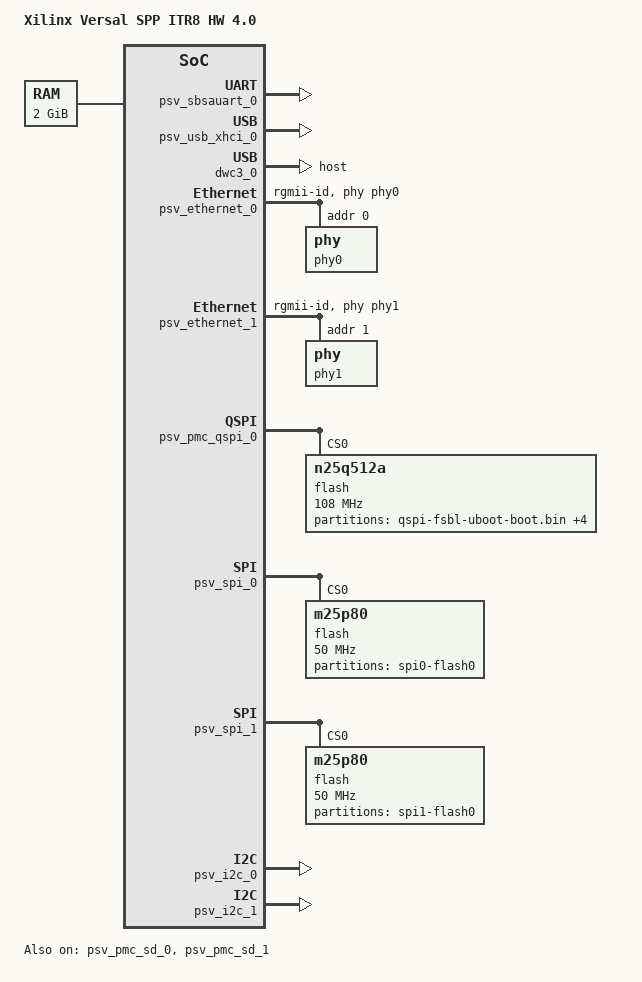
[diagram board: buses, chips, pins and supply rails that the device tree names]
// SPDX-License-Identifier: GPL-2.0
/*
 * dts file for Xilinx Versal
 *
 * (C) Copyright 2017 - 2019, Xilinx, Inc.
 *
 * Michal Simek <michal.simek@xilinx.com>
 */

/ {
	compatible = "xlnx,versal-spp-itr8-cn13940875", "xlnx,versal-spp-itr8", "xlnx,versal";
	model = "Xilinx Versal SPP ITR8 HW 4.0";
	
	aliases {
		serial0 = &psv_sbsauart_0;
		ethernet0 = &psv_ethernet_0;
		ethernet1 = &psv_ethernet_1;
		spi0 = &psv_pmc_qspi_0;
		spi1 = &psv_pmc_ospi_0;
		spi2 = &psv_spi_0;
		spi3 = &psv_spi_1;
		i2c0 = &psv_i2c_0;
		i2c1 = &psv_i2c_1;
		mmc0 = &psv_pmc_sd_0;
		mmc1 = &psv_pmc_sd_1;
		usb0 = &psv_usb_xhci_0;
	};
	
	memory@0 {
		device_type = "memory";
		reg = <0 0 0 0x80000000>;
	};
	chosen {
		bootargs = "rdinit=/bin/sh console=ttyAMA0 earlycon=pl011,mmio32,0xFF000000,115200n8 clk_ignore_unused maxcpus=1";
		stdout-path = "serial0:115200";
	};
	
	clk25: clk25 {
		u-boot,dm-pre-reloc;
		compatible = "fixed-clock";
		#clock-cells = <0>;
		clock-frequency = <25000000>;
	};

	clk100: clk100 {
		compatible = "fixed-clock";
		#clock-cells = <0>;
		clock-frequency = <100000000>;
	};

	clk125: clk125 {
		compatible = "fixed-clock";
		#clock-cells = <0>;
		clock-frequency = <125000000>;
	};

	clk200: clk200 {
		compatible = "fixed-clock";
		#clock-cells = <0>;
		clock-frequency = <200000000>;
	};
};

&timer {
	clock-frequency = <2720000>;
};

&psv_sbsauart_0 {
	status = "okay";
	clocks = <&clk25 &clk25>;
};

&psv_adma_0 {
	status = "okay";
	clocks = <&clk100 &clk100>;
};

&psv_adma_1 {
	status = "okay";
	clocks = <&clk100 &clk100>;
};

&psv_adma_2 {
	status = "okay";
	clocks = <&clk100 &clk100>;
};

&psv_adma_3 {
	status = "okay";
	clocks = <&clk100 &clk100>;
};

&psv_adma_4 {
	status = "okay";
	clocks = <&clk100 &clk100>;
};

&psv_adma_5 {
	status = "okay";
	clocks = <&clk100 &clk100>;
};

&psv_adma_6 {
	status = "okay";
	clocks = <&clk100 &clk100>;
};

&psv_adma_7 {
	status = "okay";
	clocks = <&clk100 &clk100>;
};

&psv_usb_xhci_0 {
	status = "okay";
	clocks = <&clk125 &clk125>;
};

&dwc3_0 {
	status = "okay";
	dr_mode = "host";
	snps,usb3_lpm_capable;
	phy-names = "usb3-phy";
	maximum-speed = "high-speed";
};

&psv_ethernet_0 {
	status = "okay";
	clocks = <&clk125 &clk125 &clk125 &clk125>;
	phy-handle = <&phy0>;
	phy-mode = "rgmii-id";
        phy0: phy@0 {
		reg = <0x0>;
		max-speed = <100>;
		ti,rx-internal-delay = <0xb>;
		ti,tx-internal-delay = <0xa>;
		ti,fifo-depth = <0x1>;
		ti,dp83867-rxctrl-strap-quirk;
	};
};

&psv_ethernet_1 {
	status = "okay";
	clocks = <&clk125 &clk125 &clk125 &clk125>;
	phy-handle = <&phy1>;
	phy-mode = "rgmii-id";
        phy1: phy@1 {
		reg = <0x1>;
		max-speed = <100>;
		ti,rx-internal-delay = <0xb>;
		ti,tx-internal-delay = <0xa>;
		ti,fifo-depth = <0x1>;
		ti,dp83867-rxctrl-strap-quirk;
	};
};

&psv_pmc_sd_0 {
	status = "okay";
	clocks = <&clk25 &clk25>;
	xlnx,mio_bank = <0>;
};

&psv_pmc_sd_1 {
	status = "okay";
	clocks = <&clk25 &clk25>;
	xlnx,mio_bank = <0>;
};

&psv_pmc_qspi_0 {
	status = "okay";
	num-cs = <0x1>;
	reg = <0x0 0xf1030000 0x0 0x1000>;
	clocks = <&clk125 &clk125>;
	is-dual = <1>;
	spi-rx-bus-width = <4>;
	spi-tx-bus-width = <4>;
	
	flash@0 {
		compatible = "n25q512a", "micron,m25p80", "spi-flash";
		reg = <0x0>;
		spi-tx-bus-width = <1>;
		spi-rx-bus-width = <4>;
		spi-max-frequency = <108000000>;

		partitions {
			compatible = "fixed-partitions";
			#address-cells = <1>;
			#size-cells = <1>;
			partition@0 {
				label = "qspi-fsbl-uboot-boot.bin";
				reg = <0x0 0x6400000>;
			};
			partition@6400000 {
				label = "qspi-linux";
				reg = <0x6400000 0x500000>;
			};
			partition@6900000 {
				label = "qspi-device-tree";
				reg = <0x6900000 0x20000>;
			};
			partition@6920000 {
				label = "qspi-rootfs";
				reg = <0x6920000 0x5E0000>;
			};
			partition@7f40000 {
				label = "qspi-bootenv";
				reg = <0x7f40000 0x40000>;
			};
		};
	};
};

&psv_pmc_ospi_0 {
	status = "disabled";
	clocks = <&clk125 &clk125>;
	bus-num = <2>;
	num-cs = <1>;
	cdns,fifo-depth = <508>;
	cdns,fifo-width = <4>;
	cdns,is-dma = <1>;
	cdns,is-stig-pgm = <1>;
	cdns,trigger-address = <0x00000000>;
	flash@0 {
		compatible = "n25q512a", "micron,m25p80", "spi-flash";
		reg = <0x0>;
		spi-tx-bus-width = <1>;
		spi-rx-bus-width = <8>;
		spi-max-frequency = <108000000>;

		partitions {
			compatible = "fixed-partitions";
			#address-cells = <1>;
			#size-cells = <1>;

			partition@0 {
				label = "qspi-fsbl-uboot";
				reg = <0x0 0x100000>;
			};
			partition@100000 {
				label = "qspi-linux";
				reg = <0x100000 0x500000>;
			};
			partition@600000 {
				label = "qspi-device-tree";
				reg = <0x600000 0x20000>;
			};
			partition@620000 {
				label = "qspi-rootfs";
				reg = <0x620000 0x5E0000>;
			};
		};
	};
};

&psv_spi_0 {
	status = "okay";
	clocks = <&clk125 &clk125>;
	num-cs = <1>;

	flash@0 {
		compatible = "m25p80", "spi-flash";
		spi-max-frequency = <50000000>;
		reg = <0x0>;

		partitions {
			compatible = "fixed-partitions";
			#address-cells = <1>;
			#size-cells = <1>;

			partition@0 {
				label = "spi0-flash0";
				reg = <0x0 0x100000>;
			};
		};
	};
};

&psv_spi_1 {
	status = "okay";
	clocks = <&clk125 &clk125>;
	num-cs = <3>;

	flash@0 {
		compatible = "m25p80", "spi-flash";
		spi-max-frequency = <50000000>;
		reg = <0x0>;

		partitions {
			compatible = "fixed-partitions";
			#address-cells = <1>;
			#size-cells = <1>;

			partition@0 {
				label = "spi1-flash0";
				reg = <0x0 0x84000>;
			};
		};
	};
};

&psv_i2c_0 {
	status = "okay";
	clocks = <&clk100 &clk100>;
};

&psv_i2c_1 {
	status = "okay";
	clocks = <&clk100 &clk100>;
};
